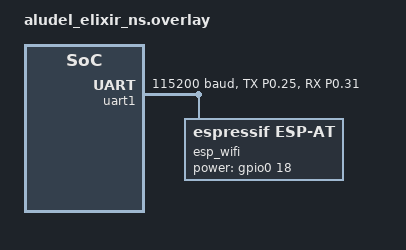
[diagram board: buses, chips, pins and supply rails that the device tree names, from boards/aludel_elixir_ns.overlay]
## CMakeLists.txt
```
# SPDX-License-Identifier: Apache-2.0

cmake_minimum_required(VERSION 3.20.0)

find_package(Zephyr REQUIRED HINTS $ENV{ZEPHYR_BASE})
project(hello)

target_sources(app PRIVATE src/main.c)
```

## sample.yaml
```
sample:
  description: Say Hello to Golioth server
  name: hello
tests:
  sample.golioth.hello:
    harness: pytest
    tags:
      - golioth
      - socket
      - goliothd
    timeout: 180
    extra_configs:
      - CONFIG_GOLIOTH_SAMPLE_TWISTER_TEST=y
      - arch:posix:CONFIG_NATIVE_UART_0_ON_STDINOUT=y
    platform_allow:
      - esp32s3_devkitc/esp32s3/procpu
      - frdm_rw612
      - native_sim
      - native_sim/native/64
      - nrf9160dk/nrf9160/ns
      - nucleo_h563zi/stm32h563xx
  sample.golioth.hello.psa_crypto:
    harness: pytest
    tags:
      - golioth
      - socket
      - goliothd
    timeout: 180
    extra_configs:
      - CONFIG_GOLIOTH_SAMPLE_TWISTER_TEST=y
      - arch:posix:CONFIG_NATIVE_UART_0_ON_STDINOUT=y
      - CONFIG_MBEDTLS_PSA_CRYPTO_C=y
    platform_allow:
      - esp32s3_devkitc/esp32s3/procpu
      - frdm_rw612
      - native_sim
      - native_sim/native/64
      - nrf9160dk/nrf9160/ns
      - nucleo_h563zi/stm32h563xx
  sample.golioth.hello.cid:
    harness: pytest
    tags:
      - golioth
      - socket
      - goliothd
    timeout: 180
    extra_configs:
      - CONFIG_GOLIOTH_SAMPLE_TWISTER_TEST=y
      - CONFIG_GOLIOTH_USE_CONNECTION_ID=y
      - arch:posix:CONFIG_NATIVE_UART_0_ON_STDINOUT=y
    platform_allow:
      - esp32s3_devkitc/esp32s3/procpu
      - frdm_rw612
      - native_sim
      - native_sim/native/64
      - nrf9160dk/nrf9160/ns
      - nucleo_h563zi/stm32h563xx
  sample.golioth.hello.wifi:
    harness: pytest
    tags:
      - golioth
      - socket
      - goliothd
    timeout: 180
    extra_configs:
      - CONFIG_GOLIOTH_SAMPLE_TWISTER_TEST=y
    extra_args:
      - EXTRA_CONF_FILE=boards/frdm_rw612_wifi.conf
    platform_allow:
      - frdm_rw612
  sample.golioth.hello.openthread.buildonly:
    build_only: true
    harness: pytest
    tags:
      - golioth
      - socket
      - goliothd
    timeout: 180
    extra_configs:
      - CONFIG_OPENTHREAD_NORDIC_LIBRARY_MASTER=y
      - CONFIG_OPENTHREAD_LIBRARY=y
      - CONFIG_OPENTHREAD_SOURCES=y
      - CONFIG_NET_L2_OPENTHREAD=y
      - CONFIG_OPENTHREAD_CHANNEL=26
      - CONFIG_OPENTHREAD_PANID=34739
      - CONFIG_OPENTHREAD_NETWORKKEY="00:11:22:33:44:55:66:77:88:99:aa:bb:cc:dd:ee:ff"
      - CONFIG_OPENTHREAD_NETWORK_NAME="golioth-thread"
    platform_allow:
      - nrf9160dk/nrf52840
```

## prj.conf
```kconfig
# Application
CONFIG_GOLIOTH_SAMPLE_COMMON=y
CONFIG_LOG_BACKEND_GOLIOTH=y

# Golioth Firmware SDK with all dependencies
CONFIG_GOLIOTH_FIRMWARE_SDK=y
```

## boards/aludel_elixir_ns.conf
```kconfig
CONFIG_WIFI=y
CONFIG_WIFI_ESP_AT=y
CONFIG_WIFI_ESP_AT_MDM_RX_BUF_COUNT=40

CONFIG_NET_L2_WIFI_SHELL=y
CONFIG_GOLIOTH_SAMPLE_WIFI=y

CONFIG_NET_IF_MAX_IPV4_COUNT=2
```

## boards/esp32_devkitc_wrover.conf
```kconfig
CONFIG_WIFI=y
CONFIG_HEAP_MEM_POOL_SIZE=98304

CONFIG_NET_L2_ETHERNET=y

CONFIG_NET_DHCPV4=y

CONFIG_MBEDTLS_ENTROPY_ENABLED=y
CONFIG_MBEDTLS_KEY_EXCHANGE_ECDHE_ECDSA_ENABLED=y
CONFIG_MBEDTLS_ECP_ALL_ENABLED=y

CONFIG_ESP32_WIFI_STA_AUTO_DHCPV4=y

CONFIG_NET_L2_WIFI_SHELL=y
CONFIG_GOLIOTH_SAMPLE_WIFI=y
```

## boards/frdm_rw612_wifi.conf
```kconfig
# Extra configuration file for using NXP frdm_rw612 with WiFi instead of Ethernet
#   To use, add as extra conf file:
#   west build -p -b frdm_rw612 examples/zephyr/hello --extra-conf boards/frdm_rw612_wifi.conf
#
CONFIG_WIFI=y
CONFIG_WIFI_NXP=y
CONFIG_GOLIOTH_SAMPLE_WIFI=y

# Runtime provisioning for WiFi credentials
CONFIG_WIFI_CREDENTIALS=y
CONFIG_NET_L2_WIFI_SHELL=y
CONFIG_SHELL_STACK_SIZE=2560

# Wifi Configuration
CONFIG_NET_L2_ETHERNET=y
CONFIG_NET_PKT_RX_COUNT=36
CONFIG_NET_PKT_TX_COUNT=36
CONFIG_NET_BUF_RX_COUNT=40
CONFIG_NET_BUF_TX_COUNT=40
CONFIG_NET_BUF_DATA_SIZE=1744

# Handle WiFi Networks with Multiple DNS Servers
CONFIG_DNS_RESOLVER_MAX_SERVERS=3

# Disable Ethernet
CONFIG_ETH_NXP_ENET=n
CONFIG_PHY_MICROCHIP_KSZ8081=n
CONFIG_NET_CONFIG_AUTO_INIT=n
CONFIG_NET_CONFIG_NEED_IPV4=n

CONFIG_ZVFS_POLL_MAX=4
```

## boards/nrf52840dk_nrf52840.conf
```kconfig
CONFIG_UART_ASYNC_API=y
CONFIG_MODEM_CELLULAR_APN="your-apn"

CONFIG_MODEM=y
CONFIG_MODEM_CELLULAR=y
CONFIG_MODEM_CELLULAR_UART_BUFFER_SIZES=4096
CONFIG_MODEM_CELLULAR_CMUX_MAX_FRAME_SIZE=4096

#Golioth
CONFIG_GOLIOTH_FIRMWARE_SDK=y
CONFIG_GOLIOTH_SAMPLE_COMMON=y
CONFIG_GOLIOTH_SAMPLE_HARDCODED_CREDENTIALS=y

CONFIG_GOLIOTH_SAMPLE_PSK_ID="your-psk-id"
CONFIG_GOLIOTH_SAMPLE_PSK="your-psk"
CONFIG_GOLIOTH_STREAM=y
CONFIG_GOLIOTH_DEBUG_LOG=y
CONFIG_NET_L2_ETHERNET=n

CONFIG_DNS_RESOLVER=y
CONFIG_NET_L2_PPP_OPTION_DNS_USE=y

CONFIG_GOLIOTH_SAMPLE_DHCP_BIND=n

CONFIG_POSIX_API=y
CONFIG_NET_PKT_RX_COUNT=10
CONFIG_NET_BUF_RX_COUNT=20

#Networking for cellular flags for cellular modem
CONFIG_NET_DHCPV4=y
CONFIG_NETWORKING=y
CONFIG_NET_NATIVE=y
CONFIG_NET_L2_PPP=y
CONFIG_NET_IPV4=y
CONFIG_NET_UDP=y
CONFIG_NET_SOCKETS=y
CONFIG_NET_CONTEXT_RCVTIMEO=n

CONFIG_ZVFS_EVENTFD_MAX=22
CONFIG_ZVFS_OPEN_MAX=20

CONFIG_NET_SOCKETS_DTLS_MAX_FRAGMENT_LENGTH=2048
CONFIG_GOLIOTH_STREAM=y

CONFIG_MBEDTLS_ENABLE_HEAP=y
CONFIG_MBEDTLS_HEAP_SIZE=10240
CONFIG_NET_SOCKETS_DTLS_MAX_FRAGMENT_LENGTH=2048
CONFIG_MBEDTLS_SSL_MAX_CONTENT_LEN=2048
CONFIG_MBEDTLS_SSL_IN_CONTENT_LEN=2048
CONFIG_MBEDTLS_SSL_OUT_CONTENT_LEN=2048
CONFIG_MAIN_STACK_SIZE=4096
CONFIG_DNS_SERVER_IP_ADDRESSES=y
CONFIG_DNS_SERVER1="1.1.1.1"
```

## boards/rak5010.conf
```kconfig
CONFIG_UART_ASYNC_API=y
CONFIG_MODEM_CELLULAR_APN="internet"

# USB
CONFIG_USB_DEVICE_STACK=y
CONFIG_USB_DEVICE_PRODUCT="Zephyr USB console sample"
CONFIG_USB_DEVICE_PID=0x0004
CONFIG_USB_DEVICE_INITIALIZE_AT_BOOT=y

CONFIG_UART_CONSOLE=y
CONFIG_UART_LINE_CTRL=y
CONFIG_LOG_BACKEND_RTT=n

# Networking
CONFIG_NETWORKING=y
CONFIG_NET_NATIVE=y
CONFIG_NET_L2_PPP=y
CONFIG_NET_IPV4=y
CONFIG_NET_UDP=y
CONFIG_NET_SOCKETS=y
CONFIG_NET_CONTEXT_RCVTIMEO=y

CONFIG_NET_CONNECTION_MANAGER=y

# Modem driver
CONFIG_MODEM=y
CONFIG_PM_DEVICE=y
CONFIG_MODEM_CELLULAR=y
```

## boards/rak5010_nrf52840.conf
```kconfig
CONFIG_UART_ASYNC_API=y
CONFIG_MODEM_CELLULAR_APN="internet"

# USB
CONFIG_USB_DEVICE_STACK_NEXT=y
CONFIG_USBD_CDC_ACM_CLASS=y
CONFIG_CDC_ACM_SERIAL_PID=0x0004
CONFIG_CDC_ACM_SERIAL_PRODUCT_STRING="RAK5010 Zephyr"
CONFIG_CDC_ACM_SERIAL_INITIALIZE_AT_BOOT=y

CONFIG_UART_CONSOLE=y
CONFIG_UART_LINE_CTRL=y
CONFIG_LOG_BACKEND_RTT=n
CONFIG_USBD_LOG_LEVEL_OFF=y
CONFIG_USBD_CDC_ACM_LOG_LEVEL_OFF=y
CONFIG_UDC_DRIVER_LOG_LEVEL_OFF=y

# Networking
CONFIG_NETWORKING=y
CONFIG_NET_NATIVE=y
CONFIG_NET_L2_PPP=y
CONFIG_NET_IPV4=y
CONFIG_NET_UDP=y
CONFIG_NET_SOCKETS=y
CONFIG_NET_CONTEXT_RCVTIMEO=y

# Modem driver
CONFIG_MODEM=y
CONFIG_MODEM_CELLULAR=y
CONFIG_MODEM_CMUX_WORK_BUFFER_SIZE_EXTRA=1024
```

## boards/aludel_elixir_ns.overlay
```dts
&uart1 {
    status = "okay";
    current-speed = <115200>;
    pinctrl-0 = <&esp_at_uart_default>;
    pinctrl-1 = <&esp_at_uart_sleep>;
    pinctrl-names = "default", "sleep";

    esp_wifi: esp-wifi {
        compatible = "espressif,esp-at";
        power-gpios = <&gpio0 18 (GPIO_ACTIVE_HIGH | GPIO_OPEN_DRAIN)>;
        status = "okay";
    };
};

&pinctrl {
    esp_at_uart_default: esp-at-uart-default {
        group1 {
            psels = <NRF_PSEL(UART_TX, 0, 25)>,
                    <NRF_PSEL(UART_RX, 0, 31)>;
        };
    };

    esp_at_uart_sleep: esp-at-uart-sleep {
        group1 {
            psels = <NRF_PSEL(UART_TX, 0, 25)>,
                    <NRF_PSEL(UART_RX, 0, 31)>;
            low-power-enable;
        };
    };
};
```

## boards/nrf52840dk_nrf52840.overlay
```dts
/*
 * Copyright (C) 2021 Golioth, Inc.
 *
 * SPDX-License-Identifier: Apache-2.0
 */


/ {
	aliases {
		modem = &modem;
		modem-uart = &uart1;
	};
};


&uart1 {
	compatible = "nordic,nrf-uarte";
	current-speed = <115200>;
	status = "okay";

	modem: modem {
		compatible = "simcom,sim7080";
		status = "okay";
		mdm-power-gpios = <&gpio1 3 GPIO_ACTIVE_HIGH>;
	};
};
```

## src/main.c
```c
/*
 * Copyright (c) 2023 Golioth, Inc.
 *
 * SPDX-License-Identifier: Apache-2.0
 */

#include <zephyr/logging/log.h>
LOG_MODULE_REGISTER(hello_zephyr, LOG_LEVEL_DBG);

#include <golioth/client.h>
#include <samples/common/sample_credentials.h>
#include <string.h>
#include <zephyr/kernel.h>

#include <samples/common/net_connect.h>

struct golioth_client *client;
static K_SEM_DEFINE(connected, 0, 1);

static void on_client_event(struct golioth_client *client,
                            enum golioth_client_event event,
                            void *arg)
{
    bool is_connected = (event == GOLIOTH_CLIENT_EVENT_CONNECTED);
    if (is_connected)
    {
        k_sem_give(&connected);
    }
    LOG_INF("Golioth client %s", is_connected ? "connected" : "disconnected");
}

int main(void)
{
    int counter = 0;

    LOG_DBG("start hello sample");

    net_connect();

    /* Note: In production, credentials should be saved in secure storage. For
     * simplicity, we provide a utility that stores credentials as plaintext
     * settings.
     */
    const struct golioth_client_config *client_config = golioth_sample_credentials_get();

    client = golioth_client_create(client_config);

    golioth_client_register_event_callback(client, on_client_event, NULL);

    k_sem_take(&connected, K_FOREVER);

    while (true)
    {
        LOG_INF("Sending hello! %d", counter);

        ++counter;
        k_sleep(K_SECONDS(5));
    }

    return 0;
}
```
